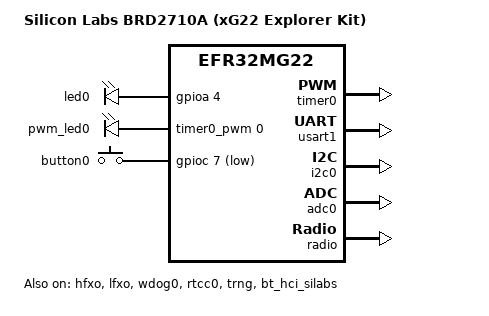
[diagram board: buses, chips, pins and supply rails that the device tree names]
/*
 * Copyright The Zephyr Project Contributors
 *
 * SPDX-License-Identifier: Apache-2.0
 */

/dts-v1/;
#include <silabs/xg22/efr32mg22e224f512im40.dtsi>
#include <zephyr/dt-bindings/input/input-event-codes.h>
#include <zephyr/dt-bindings/regulator/silabs_dcdc.h>
#include <zephyr/dt-bindings/pwm/pwm.h>
#include "xg22_ek2710a-pinctrl.dtsi"

/ {
	model = "Silicon Labs BRD2710A (xG22 Explorer Kit)";
	compatible = "silabs,xg22_ek2710a", "silabs,efr32mg22";

	chosen {
		zephyr,bt-hci = &bt_hci_silabs;
		zephyr,code-partition = &slot0_partition;
		zephyr,console = &usart1;
		zephyr,flash = &flash0;
		zephyr,shell-uart = &usart1;
		zephyr,sram = &sram0;
		zephyr,uart-pipe = &usart1;
	};

	aliases {
		led0 = &led0;
		pwm-led0 = &pwm_led0;
		sw0 = &button0;
		watchdog0 = &wdog0;

		/* If enabled, MCUboot uses this for recovery mode entrance */
		mcuboot-led0 = &led0;
		mcuboot-button0 = &button0;
	};

	leds {
		compatible = "gpio-leds";

		led0: led_0 {
			gpios = <&gpioa 4 GPIO_ACTIVE_HIGH>;
		};
	};

	pwmleds {
		compatible = "pwm-leds";
		pwm_led0: pwm_led_0 {
			pwms = <&timer0_pwm 0 PWM_MSEC(20) PWM_POLARITY_NORMAL>;
		};
	};

	buttons {
		compatible = "gpio-keys";

		button0: button_0 {
			gpios = <&gpioc 7 GPIO_ACTIVE_LOW>;
			zephyr,code = <INPUT_KEY_0>;
		};
	};
};

&timer0 {
	status = "okay";

	timer0_pwm: pwm {
		pinctrl-0 = <&timer0_default>;
		pinctrl-names = "default";
		status = "okay";
	};
};

&cpu0 {
	clock-frequency = <76800000>;
};

&itm {
	pinctrl-0 = <&itm_default>;
	pinctrl-names = "default";
	swo-ref-frequency = <DT_FREQ_K(76800)>;
};

&hfxo {
	ctune = <121>;
	precision = <50>;
	status = "okay";
};

&lfxo {
	ctune = <42>;
	precision = <50>;
	status = "okay";
};

&hfrcodpll {
	clock-frequency = <DT_FREQ_K(76800)>;
	clocks = <&hfxo>;
	dpll-autorecover;
	dpll-edge = "fall";
	dpll-lock = "phase";
	dpll-m = <1919>;
	dpll-n = <3839>;
};

&em23grpaclk {
	clocks = <&lfxo>;
};

&em4grpaclk {
	clocks = <&lfxo>;
};

&rtccclk {
	clocks = <&lfxo>;
};

&wdog0clk {
	clocks = <&lfxo>;
};

&usart1 {
	pinctrl-0 = <&usart1_default>;
	pinctrl-names = "default";
	status = "okay";
};

&i2c0 {
	pinctrl-0 = <&i2c0_default>;
	pinctrl-names = "default";
	status = "okay";
};

&wdog0 {
	status = "okay";
};

&gpio {
	status = "okay";
};

&gpioa {
	status = "okay";
};

&gpiob {
	status = "okay";
};

&gpioc {
	status = "okay";
};

&gpiod {
	status = "okay";
};

&rtcc0 {
	status = "okay";
};

&adc0 {
	status = "okay";
};

&trng {
	status = "okay";
};

&dcdc {
	regulator-boot-on;
	regulator-initial-mode = <SILABS_DCDC_MODE_BUCK>;
	status = "okay";
};

&flash0 {
	partitions {
		compatible = "fixed-partitions";
		#address-cells = <1>;
		#size-cells = <1>;

		/* Reserve 48 KiB for the bootloader */
		boot_partition: partition@0 {
			reg = <0x00000000 DT_SIZE_K(48)>;
			label = "mcuboot";
			read-only;
		};

		/* Reserve 224 KiB for the application in slot 0 */
		slot0_partition: partition@c000 {
			reg = <0x0000c000 DT_SIZE_K(224)>;
			label = "image-0";
		};

		/* Reserve 224 KiB for the application in slot 1 */
		slot1_partition: partition@44000 {
			reg = <0x00044000 DT_SIZE_K(224)>;
			label = "image-1";
		};

		/* Set 16 KiB of storage at the end of the 512 KiB of flash */
		storage_partition: partition@7c000 {
			reg = <0x0007c000 DT_SIZE_K(16)>;
			label = "storage";
		};
	};
};

&radio {
	pa-voltage-mv = <1800>;
};

&bt_hci_silabs {
	status = "okay";
};
